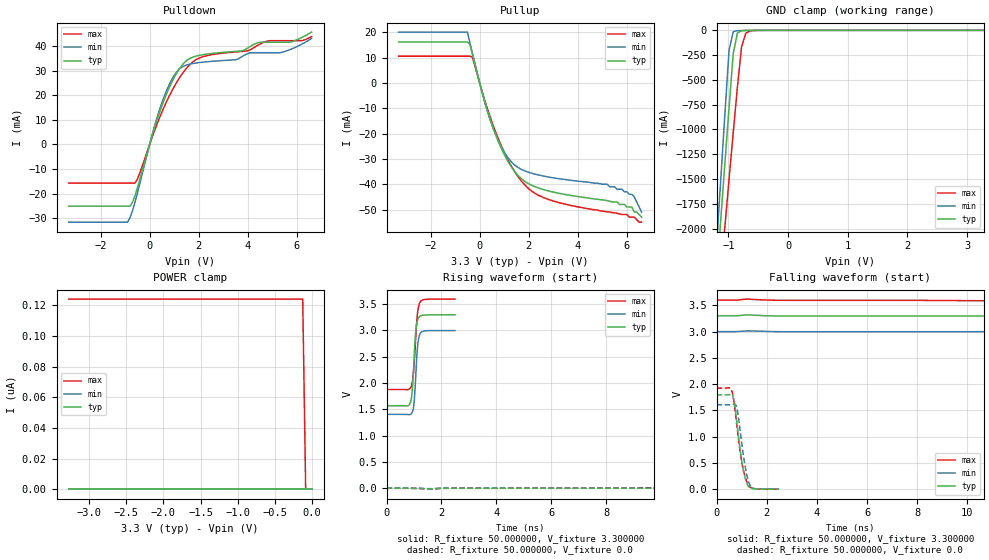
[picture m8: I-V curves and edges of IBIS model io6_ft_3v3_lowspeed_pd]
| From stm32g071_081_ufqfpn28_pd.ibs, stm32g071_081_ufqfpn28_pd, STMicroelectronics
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|   Model io6_ft_3v3_lowspeed_pd
[Model]  io6_ft_3v3_lowspeed_pd
Model_type I/O
Polarity   Non-Inverting
Enable   Active-Low
Vinl =   0.990000V
Vinh =   2.310000V
Vmeas =  1.650000V
Cref =   50.000000pF
Rref =   100.000000M
Vref =   0.0V
C_comp   1.290400pF   1.272500pF   1.305600pF
[Temperature Range]   25.000000   -40.000000   0.125000k
[Pullup Reference]   3.300000V   3.000000V   3.600000V
[Pulldown Reference]   0.0V   0.0V   0.0V
[POWER Clamp Reference]   3.300000V   3.000000V   3.600000V
[GND Clamp Reference]   0.0V   0.0V   0.0V
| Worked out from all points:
|   slope of the pulldown table from 0 to 0.495 V, typ, clamps not added: 31.8 ohm
|   slope of the pullup table from 0 to 0.495 V, typ, clamps not added: 30.4 ohm
|   GND clamp passes 1 mA (typ) near -0.65 V on its own axis
|   rising waveform, R_fixture 50.000000, V_fixture 3.300000: 20-80 % time 115ps typ, 109ps min, 129ps max; typ from 1.57 V to 3.3 V
|   rising waveform, R_fixture 50.000000, V_fixture 0.0: 20-80 % time 45.7ns typ, 40.4ns min, 56.9ns max; typ from 0 V to 1.79 V
|   falling waveform, R_fixture 50.000000, V_fixture 3.300000: 20-80 % time 40.8ns typ, 40.4ns min, 43.6ns max; typ from 3.3 V to 1.57 V
|   falling waveform, R_fixture 50.000000, V_fixture 0.0: 20-80 % time 299ps typ, 288ps min, 331ps max; typ from 1.79 V to 0 V
[Pulldown]
|Voltage   I(typ)   I(min)   I(max)
-3.3V     -25.03mA   -31.54mA   -15.7mA
-900mV    -25.03mA   -31.54mA   -15.7mA
-700mV    -23.48mA   -26.95mA   -15.7mA
-500mV    -17.69mA   -19.75mA   -14.07mA
100mV     3.479mA    3.853mA    2.862mA
500mV     15.71mA    16.96mA    13.17mA
900mV     25.22mA    26.33mA    21.66mA
1.3V      31.91mA    31.32mA    28.29mA
2.2V      36.48mA    33.43mA    35.69mA
4.1V      39.78mA    37.21mA    38.43mA
5.4V      41.49mA    37.39mA    42.11mA
6.6V      45.6mA     43.05mA    43.74mA
[Pullup]
|Voltage   I(typ)   I(min)   I(max)
-3.3V     16.16mA    20.05mA    10.53mA
-500mV    16.16mA    20.05mA    10.53mA
-400mV    15.28mA    16.06mA    10.53mA
-300mV    11.46mA    11.98mA    10.27mA
400mV     -13.51mA   -13.75mA   -12.62mA
800mV     -24.01mA   -23.65mA   -23mA
1.3V      -33.26mA   -31.25mA   -32.99mA
1.9V      -39.28mA   -34.97mA   -40.88mA
2.6V      -42.11mA   -36.79mA   -45.26mA
5.8V      -48mA      -42mA      -52mA
6.3V      -51mA      -45mA      -53mA
6.6V      -53mA      -51mA      -55mA
[GND_clamp]
|Voltage   I(typ)   I(min)   I(max)
-3.3V     -9.61A     -9.635A    -9.699A
-1.2V     -2.493A    -2.184A    -2.958A
-1.13V    -1.917A    -1.512A    -2.469A
-1.06V    -1.345A    -845.6mA   -1.983A
-990mV    -779.8mA   -200.2mA   -1.503A
-920mV    -235.6mA   -14.2mA    -1.03A
-850mV    -26.08mA   -3.351mA   -574.2mA
-780mV    -4.512mA   -1.821mA   -166.4mA
-710mV    -1.735mA   -881.8uA   -29.46mA
-640mV    -819.4uA   -295.6uA   -6.294mA
3.28V     86.85uA    64.2uA     109.1uA
[POWER_clamp]
|Voltage   I(typ)   I(min)   I(max)
-3.28V    0A         0A         124nA
-120mV    0A         0A         124nA
-80mV     0A         0A         0A
0V        0A         0A         0A
[Ramp]
| variable   typ   min   max
dV/dt_r  1.07424/45.63765n   0.96276/40.30836n   1.14240/56.91530n
dV/dt_f  1.03170/40.74641n   0.95310/40.32798n   1.02444/43.53390n
R_load = 50.000000
[Rising Waveform]
R_fixture= 50.000000
V_fixture= 3.300000
V_fixture_min= 3.000000
V_fixture_max= 3.600000
|time   V(typ)   V(min)   V(max)
0s        1.57V      1.405V     1.878V
865.9ps   1.627V     1.403V     1.908V
930.9ps   1.83V      1.438V     1.998V
996ps     2.385V     1.595V     2.294V
1.036ns   2.786V     1.866V     2.617V
1.071ns   3.02V      2.204V     2.936V
1.121ns   3.18V      2.645V     3.292V
1.181ns   3.253V     2.874V     3.485V
1.381ns   3.294V     2.991V     3.589V
2.492ns   3.299V     2.999V     3.598V
[Rising Waveform]
R_fixture= 50.000000
V_fixture= 0.0
V_fixture_min= 0.0
V_fixture_max= 0.0
|time   V(typ)   V(min)   V(max)
0s        -6.789uV   -23.73uV   14.59uV
11.61ns   8.534mV    534uV      20.6mV
17.22ns   84.44mV    49.75mV    93.24mV
45.65ns   879.9mV    841.6mV    771.6mV
55.26ns   1.114V     1.066V     1V
69.27ns   1.374V     1.297V     1.276V
84.08ns   1.555V     1.441V     1.498V
103.7ns   1.682V     1.535V     1.693V
124.5ns   1.743V     1.576V     1.806V
199.4ns   1.794V     1.606V     1.922V
[Falling Waveform]
R_fixture= 50.000000
V_fixture= 3.300000
V_fixture_min= 3.000000
V_fixture_max= 3.600000
|time   V(typ)   V(min)   V(max)
0s        3.299V     2.999V     3.598V
14.01ns   3.291V     2.997V     3.559V
25.23ns   3.126V     2.932V     3.341V
46.85ns   2.514V     2.399V     2.755V
61.66ns   2.128V     2.015V     2.407V
72.87ns   1.91V      1.785V     2.211V
82.88ns   1.791V     1.649V     2.102V
95.7ns    1.708V     1.551V     2.021V
122.1ns   1.628V     1.464V     1.941V
199.4ns   1.57V      1.405V     1.878V
[Falling Waveform]
R_fixture= 50.000000
V_fixture= 0.0
V_fixture_min= 0.0
V_fixture_max= 0.0
|time   V(typ)   V(min)   V(max)
0s        1.794V     1.606V     1.922V
575.6ps   1.804V     1.606V     1.906V
675.7ps   1.726V     1.614V     1.724V
780.8ps   1.393V     1.589V     1.331V
860.9ps   1.061V     1.41V      1.005V
1.026ns   472.8mV    797.5mV    466.5mV
1.131ns   226.6mV    460.4mV    248.6mV
1.261ns   61.94mV    168mV      88.84mV
1.496ns   6.125mV    13.25mV    9.004mV
2.492ns   -6.789uV   -23.73uV   14.59uV
